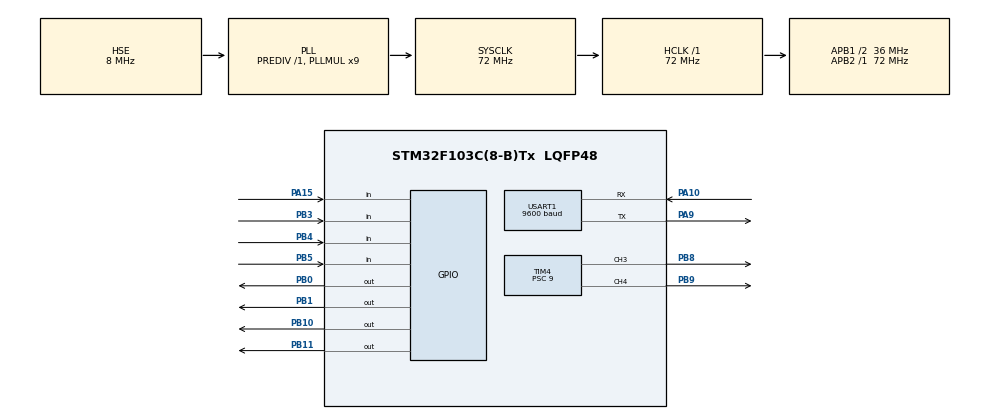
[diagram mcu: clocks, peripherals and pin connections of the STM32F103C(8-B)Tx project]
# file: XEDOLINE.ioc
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Dma.Request0=USART1_RX
Dma.Request1=USART1_TX
Dma.USART1_RX.0.Direction=DMA_PERIPH_TO_MEMORY
Dma.USART1_RX.0.Instance=DMA1_Channel5
Dma.USART1_RX.0.MemDataAlignment=DMA_MDATAALIGN_BYTE
Dma.USART1_RX.0.MemInc=DMA_MINC_ENABLE
Dma.USART1_RX.0.Mode=DMA_NORMAL
Dma.USART1_RX.0.PeriphDataAlignment=DMA_PDATAALIGN_BYTE
Dma.USART1_RX.0.PeriphInc=DMA_PINC_DISABLE
Dma.USART1_RX.0.Priority=DMA_PRIORITY_LOW
Dma.USART1_TX.1.Direction=DMA_MEMORY_TO_PERIPH
Dma.USART1_TX.1.Instance=DMA1_Channel4
Dma.USART1_TX.1.MemDataAlignment=DMA_MDATAALIGN_BYTE
Dma.USART1_TX.1.MemInc=DMA_MINC_ENABLE
Dma.USART1_TX.1.Mode=DMA_NORMAL
Dma.USART1_TX.1.PeriphDataAlignment=DMA_PDATAALIGN_BYTE
Dma.USART1_TX.1.PeriphInc=DMA_PINC_DISABLE
Dma.USART1_TX.1.Priority=DMA_PRIORITY_LOW
Mcu.Family=STM32F1
Mcu.Name=STM32F103C(8-B)Tx
Mcu.Package=LQFP48
NVIC.DMA1_Channel4_IRQn=true\:0\:0\:false\:false\:true\:false\:true
NVIC.DMA1_Channel5_IRQn=true\:0\:0\:false\:false\:true\:false\:true
NVIC.PriorityGroup=NVIC_PRIORITYGROUP_4
NVIC.TIM3_IRQn=true\:0\:0\:false\:false\:true\:true\:true
NVIC.USART1_IRQn=true\:0\:0\:false\:false\:true\:true\:true
PA10.Mode=Asynchronous
PA10.Signal=USART1_RX
PA13.Mode=Serial_Wire
PA13.Signal=SYS_JTMS-SWDIO
PA14.Mode=Serial_Wire
PA14.Signal=SYS_JTCK-SWCLK
PA15.Signal=GPIO_Input
PA9.Mode=Asynchronous
PA9.Signal=USART1_TX
PB0.Signal=GPIO_Output
PB1.Signal=GPIO_Output
PB10.Signal=GPIO_Output
PB11.Signal=GPIO_Output
PB3.Signal=GPIO_Input
PB4.Signal=GPIO_Input
PB5.Signal=GPIO_Input
PB8.Signal=S_TIM4_CH3
PB9.Signal=S_TIM4_CH4
PD0-OSC_IN.Mode=HSE-External-Oscillator
PD0-OSC_IN.Signal=RCC_OSC_IN
PD1-OSC_OUT.Mode=HSE-External-Oscillator
PD1-OSC_OUT.Signal=RCC_OSC_OUT
ProjectManager.HeapSize=0x200
ProjectManager.StackSize=0x400
ProjectManager.TargetToolchain=SW4STM32
RCC.AHBFreq_Value=72000000
RCC.APB1CLKDivider=RCC_HCLK_DIV2
RCC.APB1Freq_Value=36000000
RCC.APB1TimFreq_Value=72000000
RCC.APB2Freq_Value=72000000
RCC.APB2TimFreq_Value=72000000
RCC.HCLKFreq_Value=72000000
RCC.PLLMUL=RCC_PLL_MUL9
RCC.PLLSourceVirtual=RCC_PLLSOURCE_HSE
RCC.SYSCLKFreq_VALUE=72000000
RCC.SYSCLKSource=RCC_SYSCLKSOURCE_PLLCLK
RCC.USBFreq_Value=72000000
SH.S_TIM4_CH3.0=TIM4_CH3,PWM Generation3 CH3
SH.S_TIM4_CH4.0=TIM4_CH4,PWM Generation4 CH4
TIM3.Period=199
TIM3.Prescaler=7199
TIM4.Channel-PWM\ Generation3\ CH3=TIM_CHANNEL_3
TIM4.Channel-PWM\ Generation4\ CH4=TIM_CHANNEL_4
TIM4.Period=254
TIM4.Prescaler=9
USART1.BaudRate=9600
USART1.VirtualMode=VM_ASYNC
VP_TIM3_VS_ClockSourceINT.Mode=Internal
VP_TIM4_VS_ClockSourceINT.Mode=Internal
board=custom

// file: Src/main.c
/* USER CODE BEGIN Header */
/**
  ******************************************************************************
  * @file           : main.c
  * @brief          : Main program body
  ******************************************************************************
  * @attention
  *
  * <h2><center>&copy; Copyright (c) 2019 STMicroelectronics.
  * All rights reserved.</center></h2>
  *
  * This software component is licensed by ST under BSD 3-Clause license,
  * the "License"; You may not use this file except in compliance with the
  * License. You may obtain a copy of the License at:
  *                        opensource.org/licenses/BSD-3-Clause
  *
  ******************************************************************************
  */
/* USER CODE END Header */

#include <motor_controller.h>
#include "main.h"
#include "dma.h"
#include "tim.h"
#include "usart.h"
#include "gpio.h"

/* USER CODE BEGIN Includes */
#include <PID.h>
#include "string.h"
#include "stdio.h"

#include <motor_controller.h>
/* USER CODE END Includes */

/* USER CODE BEGIN PTD */
int kt=0;
float vitri;
int presumindex=0;
int i_SumIndexArry=0;
static int demtimeout=1;
static int demoutline=0;
static float previtri=0;
static int demprevitri=0;

typedef enum
{
	LINE_OFF=0,
	LINE_START,
}LINE_parameter;

typedef enum
{
	LINE_external=0,
	LINE_internal,
}LINE_Control;

LINE_parameter Line_status=LINE_START;

void Control_Value_Line(int value);
void Control_vitri_Line(float vitri);
void CONTROL();

/* USER CODE END PTD */

/* USER CODE BEGIN PD */
typedef enum
	{
			UART_START =0,
			UART_APP ,
	}Uart_statemachine;
Uart_statemachine my_state = UART_START;
/* USER CODE END PD */

/* USER CODE BEGIN PV */
uint8_t pwm1 = 160;
uint8_t pwm2 = 160;
uint8_t offset = 10;
uint8_t mode = 0;    // 2 : control   , 1: line follow
int i =0;
int k =0;
int kq = 0;
uint8_t S[4];
float result_PWM;
uint8_t Rx_buff[10];
PID_parameter PID_set_parameters = {.Kp =40,.Ki=0.0001,.Kd=25,.Ts = 0.005,.PID_Saturation = 180
																			,.error =0,.pre_error =0,.pre2_error=0,.pre_Out =0,.Out = 0};
/* USER CODE END PV */

void SystemClock_Config(void);
/* USER CODE BEGIN PFP */

/*
PB0  ---> IN4
PB1  ---> IN3
PB10 ---> IN2
PB11 ---> IN1
*/
void HAL_TIM_PeriodElapsedCallback(TIM_HandleTypeDef *htim)   // ngat 5ms
	{
//	if (htim->Instance == htim3.Instance)
//	{
//		if (mode ==1)
//		{
//			S[3] = HAL_GPIO_ReadPin(GPIOB,GPIO_PIN_5); // dat gia tri = 7
//			S[2] = HAL_GPIO_ReadPin(GPIOB,GPIO_PIN_4); // dat gia tri = 5
//			S[1] = HAL_GPIO_ReadPin(GPIOB,GPIO_PIN_3); // dat gia tri = 3
//			S[0] = HAL_GPIO_ReadPin(GPIOA,GPIO_PIN_15);// dat gia tri = 1
//			for(int i=0;i<=3;i++)
//			{
//				if(S[i]==0)
//				{
//					i_SumIndexArry+=(2*i+1);
//				}
//			}
//
//			if(i_SumIndexArry==0)
//			{
//				Line_status = LINE_OFF; // khong bat line
//			}
//			else
//			{
//				Line_status = LINE_START; // bat duoc line
//			}
//
//			switch(Line_status)
//			{
//				case LINE_OFF:
//				{
//					demoutline+=1;
//					if(demoutline==20)    // out time line -> nhan lai tri tri truoc khi out
//					{
//							demtimeout+=1;
//							vitri=previtri;
//							Control_vitri_Line(vitri);
//							Line_status = LINE_START;
//							demoutline=0;
//					}
//
//					break;
//				}
//				case LINE_START:
//				{
//					Control_Value_Line(i_SumIndexArry);
//					break;
//				}
//			}
//			presumindex=i_SumIndexArry;
//			i_SumIndexArry=0;
//
//		}
//		else if(mode ==2)
//		{
//			CONTROL();
//		}
//		else if(mode == 3 || mode == 0)
//		{
//			__HAL_TIM_SET_COMPARE(&htim4,TIM_CHANNEL_3,0);
//			__HAL_TIM_SET_COMPARE(&htim4,TIM_CHANNEL_4,0);
//		}
//	}
}
/* USER CODE END PFP */

/* USER CODE BEGIN 0 */

void HAL_UART_RxCpltCallback(UART_HandleTypeDef *huart)
{
//	if(huart->Instance == huart1.Instance)
//	{
//	switch(my_state)
//	{
//		case UART_START:
//			{
//			if (Rx_buff[0] == 's' )  // khi nhan nut start de bat dau
//				{
//					i++;
//					my_state = UART_APP;
//					HAL_UART_Receive_DMA(&huart1,Rx_buff,1);
//					break;
//				}
//			else if (Rx_buff[0] == '1' )  // khi nhan nut stop
//				{
//					my_state = UART_START;
//					HAL_UART_Receive_DMA(&huart1,Rx_buff,1);
//					break;
//				}
//			}
//		case UART_APP:
//			{
//			HAL_UART_Receive_DMA(&huart1,(uint8_t*)Rx_buff,1);
//			if (Rx_buff[0] == 'f' || Rx_buff[0] == 'b' || Rx_buff[0] == 'r'||Rx_buff[0] == 'l')  // khi o che do dieu khien tay
//				{
//				mode = 2;  // control
//				my_state = UART_APP;
//				HAL_UART_Receive_DMA(&huart1,Rx_buff,1);
//				}
//				else if (Rx_buff[0] =='i')
//				{
//					mode = 3;
//				}
//				else if (Rx_buff[0] == 'd' ) // bat che do do line
//				{
//					mode = 1;  // che do do line
//					HAL_UART_Receive_DMA(&huart1,Rx_buff,1);
//					my_state = UART_APP;
//				}
//			else if(Rx_buff[0] == 'k'  ) // tat che do do line
//				{
//					mode =0;
//					HAL_UART_Receive_DMA(&huart1,Rx_buff,1);
//					my_state = UART_APP;
//				}
//			break;
//				}
//			}
//		}
}

/* USER CODE END 0 */

int main(void)
{

  /* MCU Configuration--------------------------------------------------------*/

  /* Reset of all peripherals, Initializes the Flash interface and the Systick. */
  HAL_Init();

  /* Configure the system clock */
  SystemClock_Config();

  /* Initialize all configured peripherals */
  MX_GPIO_Init();
  MX_USART1_UART_Init();
  MX_TIM4_Init();
  MX_TIM3_Init();
  MX_DMA_Init();
  /* USER CODE BEGIN 2 */

  HAL_TIM_Base_Start_IT(&htim3);
  HAL_UART_Receive_DMA(&huart1,Rx_buff,1);

  motor_init();
  motor_set_speed(MOTOR_0, 100);

  /* USER CODE END 2 */

  /* Infinite loop */
  /* USER CODE BEGIN WHILE */
  while (1)
  {
		/*
						}*/
    /* USER CODE END WHILE */

  }
}

void SystemClock_Config(void)
{
  RCC_OscInitTypeDef RCC_OscInitStruct = {0};
  RCC_ClkInitTypeDef RCC_ClkInitStruct = {0};

  /** Initializes the CPU, AHB and APB busses clocks
  */
  RCC_OscInitStruct.OscillatorType = RCC_OSCILLATORTYPE_HSE;
  RCC_OscInitStruct.HSEState = RCC_HSE_ON;
  RCC_OscInitStruct.HSEPredivValue = RCC_HSE_PREDIV_DIV1;
  RCC_OscInitStruct.HSIState = RCC_HSI_ON;
  RCC_OscInitStruct.PLL.PLLState = RCC_PLL_ON;
  RCC_OscInitStruct.PLL.PLLSource = RCC_PLLSOURCE_HSE;
  RCC_OscInitStruct.PLL.PLLMUL = RCC_PLL_MUL9;
  if (HAL_RCC_OscConfig(&RCC_OscInitStruct) != HAL_OK)
  {
    Error_Handler();
  }
  /** Initializes the CPU, AHB and APB busses clocks
  */
  RCC_ClkInitStruct.ClockType = RCC_CLOCKTYPE_HCLK|RCC_CLOCKTYPE_SYSCLK
                              |RCC_CLOCKTYPE_PCLK1|RCC_CLOCKTYPE_PCLK2;
  RCC_ClkInitStruct.SYSCLKSource = RCC_SYSCLKSOURCE_PLLCLK;
  RCC_ClkInitStruct.AHBCLKDivider = RCC_SYSCLK_DIV1;
  RCC_ClkInitStruct.APB1CLKDivider = RCC_HCLK_DIV2;
  RCC_ClkInitStruct.APB2CLKDivider = RCC_HCLK_DIV1;

  if (HAL_RCC_ClockConfig(&RCC_ClkInitStruct, FLASH_LATENCY_2) != HAL_OK)
  {
    Error_Handler();
  }
}

void Error_Handler(void)
{
}

/************************ (C) COPYRIGHT STMicroelectronics *****END OF FILE****/
